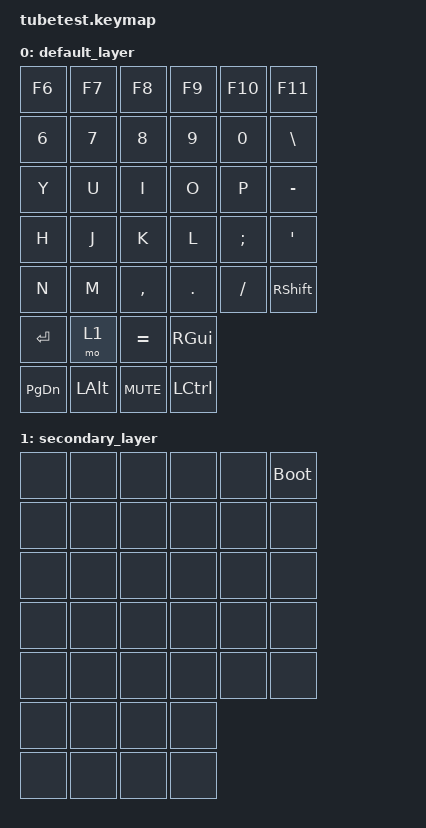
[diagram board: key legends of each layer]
#include <behaviors.dtsi>
#include <dt-bindings/zmk/keys.h>
#include <dt-bindings/zmk/outputs.h>

/ {
 keymap {
	compatible = "zmk,keymap";

	default_layer {
	 bindings = <
	&kp F6 &kp F7   &kp F8    &kp F9  &kp F10  &kp F11
	&kp N6 &kp N7   &kp N8    &kp N9  &kp N0   &kp BSLH
	&kp Y  &kp U    &kp I     &kp O   &kp P    &kp MINUS
	&kp H  &kp J    &kp K     &kp L   &kp SEMI &kp SQT
	&kp N  &kp M    &kp COMMA &kp DOT &kp FSLH &kp RSHFT
&kp ENTER  &mo 1    &kp EQUAL &kp RGUI
&kp PG_DN  &kp LALT &kp K_MUTE &kp LCTRL
	 >;
	};

	secondary_layer {
	 bindings = <
	&none &none   &none    &none  &none  &bootloader
	&none &none   &none    &none  &none  &none
	&none &none   &none    &none  &none  &none
	&none &none   &none    &none  &none  &none
	&none &none   &none    &none  &none  &none
&none  &none    &none &none
&none  &none &none &none
	 >;
	};

};

};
